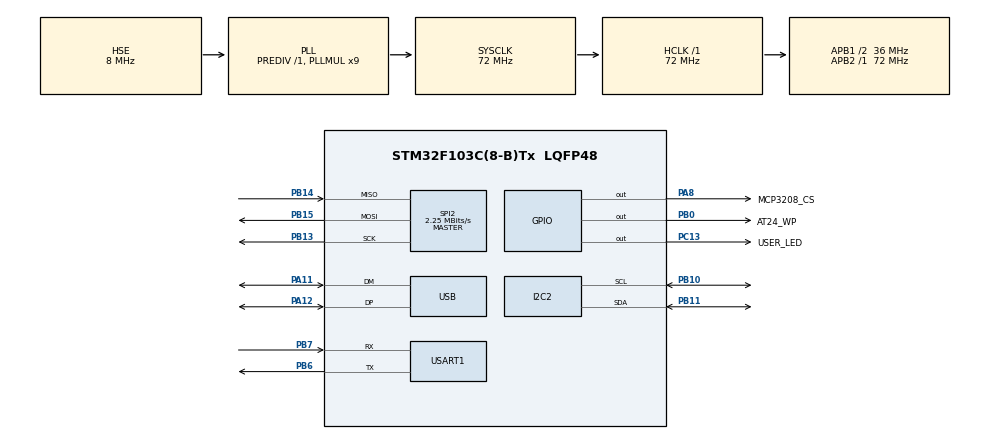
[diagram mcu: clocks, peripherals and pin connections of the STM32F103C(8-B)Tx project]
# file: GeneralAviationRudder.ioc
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FREERTOS.Tasks01=defaultTask,0,128,StartDefaultTask,Default,NULL,Dynamic,NULL,NULL;HidCommandTask,-1,128,HidCommand,Default,NULL,Static,HidCommandBuffer,HidCommandControlBlock;HidReportTask,2,64,HidReport,Default,NULL,Static,HidReportTaskBuffer,HidReportTaskControlBlock;MCP3208Reader,0,64,ReadFromMCP3208,Default,NULL,Static,ReadFromMCP3208Buffer,ReadFromMCP3208ControlBlock;ReadClibTask,-1,64,ReadClib,Default,NULL,Static,ReadClibTaskBuffer,ReadClibTaskControlBlock
FREERTOS.configMINIMAL_STACK_SIZE=64
Mcu.Family=STM32F1
Mcu.Name=STM32F103C(8-B)Tx
Mcu.Package=LQFP48
NVIC.PriorityGroup=NVIC_PRIORITYGROUP_4
NVIC.TIM1_UP_IRQn=true\:15\:0\:false\:false\:true\:false\:false\:true\:true
NVIC.TimeBase=TIM1_UP_IRQn
NVIC.TimeBaseIP=TIM1
NVIC.USB_LP_CAN1_RX0_IRQn=true\:5\:0\:false\:false\:true\:true\:false\:true\:true
PA11.Mode=Device
PA11.Signal=USB_DM
PA12.Mode=Device
PA12.Signal=USB_DP
PA13.Mode=Serial_Wire
PA13.Signal=SYS_JTMS-SWDIO
PA14.Mode=Serial_Wire
PA14.Signal=SYS_JTCK-SWCLK
PA8.GPIO_Label=MCP3208_CS
PA8.GPIO_Speed=GPIO_SPEED_FREQ_HIGH
PA8.PinState=GPIO_PIN_SET
PA8.Signal=GPIO_Output
PB0.GPIO_Label=AT24_WP
PB0.GPIO_Speed=GPIO_SPEED_FREQ_HIGH
PB0.PinState=GPIO_PIN_RESET
PB0.Signal=GPIO_Output
PB10.Mode=I2C
PB10.Signal=I2C2_SCL
PB11.Mode=I2C
PB11.Signal=I2C2_SDA
PB13.Mode=Full_Duplex_Master
PB13.Signal=SPI2_SCK
PB14.Mode=Full_Duplex_Master
PB14.Signal=SPI2_MISO
PB15.Mode=Full_Duplex_Master
PB15.Signal=SPI2_MOSI
PB6.Mode=Asynchronous
PB6.Signal=USART1_TX
PB7.Mode=Asynchronous
PB7.Signal=USART1_RX
PC13-TAMPER-RTC.GPIO_Label=USER_LED
PC13-TAMPER-RTC.GPIO_ModeDefaultOutputPP=GPIO_MODE_OUTPUT_OD
PC13-TAMPER-RTC.GPIO_PuPd=GPIO_NOPULL
PC13-TAMPER-RTC.GPIO_Speed=GPIO_SPEED_FREQ_HIGH
PC13-TAMPER-RTC.PinState=GPIO_PIN_SET
PC13-TAMPER-RTC.Signal=GPIO_Output
PC14-OSC32_IN.Mode=LSE-External-Oscillator
PC14-OSC32_IN.Signal=RCC_OSC32_IN
PC15-OSC32_OUT.Mode=LSE-External-Oscillator
PC15-OSC32_OUT.Signal=RCC_OSC32_OUT
PD0-OSC_IN.Mode=HSE-External-Oscillator
PD0-OSC_IN.Signal=RCC_OSC_IN
PD1-OSC_OUT.Mode=HSE-External-Oscillator
PD1-OSC_OUT.Signal=RCC_OSC_OUT
ProjectManager.HeapSize=0x200
ProjectManager.StackSize=0x400
ProjectManager.TargetToolchain=CMake
RCC.AHBFreq_Value=72000000
RCC.APB1CLKDivider=RCC_HCLK_DIV2
RCC.APB1Freq_Value=36000000
RCC.APB1TimFreq_Value=72000000
RCC.APB2Freq_Value=72000000
RCC.APB2TimFreq_Value=72000000
RCC.HCLKFreq_Value=72000000
RCC.PLLMUL=RCC_PLL_MUL9
RCC.SYSCLKFreq_VALUE=72000000
RCC.SYSCLKSource=RCC_SYSCLKSOURCE_PLLCLK
RCC.USBFreq_Value=48000000
RCC.USBPrescaler=RCC_USBCLKSOURCE_PLL_DIV1_5
SPI2.BaudRatePrescaler=SPI_BAUDRATEPRESCALER_16
SPI2.CLKPhase=SPI_PHASE_1EDGE
SPI2.CalculateBaudRate=2.25 MBits/s
SPI2.DataSize=SPI_DATASIZE_8BIT
SPI2.Direction=SPI_DIRECTION_2LINES
SPI2.Mode=SPI_MODE_MASTER
SPI2.VirtualType=VM_MASTER
USART1.VirtualMode=VM_ASYNC
USB.low_power_enable=DISABLE
USB.lpm_enable=DISABLE
USB_DEVICE.CLASS_NAME_FS=CUSTOM_HID
USB_DEVICE.MANUFACTURER_STRING=DexterCai's
USB_DEVICE.PID_CUSTOMHID_FS=0x6004
USB_DEVICE.PRODUCT_STRING_CUSTOMHID_FS=General Aviation Rudder
USB_DEVICE.USBD_DEBUG_LEVEL=0
USB_DEVICE.USBD_SELF_POWERED=0
USB_DEVICE.VirtualMode=CustomHid
USB_DEVICE.VirtualModeFS=Custom_Hid_FS
VP_FREERTOS_VS_CMSIS_V1.Mode=CMSIS_V1
VP_SYS_VS_tim1.Mode=TIM1
VP_USB_DEVICE_VS_USB_DEVICE_CUSTOM_HID_FS.Mode=CUSTOM_HID_FS
board=custom

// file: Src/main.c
/* USER CODE BEGIN Header */
/**
  ******************************************************************************
  * @file           : main.c
  * @brief          : Main program body
  ******************************************************************************
  * @attention
  *
  * Copyright (c) 2025 STMicroelectronics.
  * All rights reserved.
  *
  * This software is licensed under terms that can be found in the LICENSE file
  * in the root directory of this software component.
  * If no LICENSE file comes with this software, it is provided AS-IS.
  *
  ******************************************************************************
  */
/* USER CODE END Header */
#include "main.h"
#include "cmsis_os.h"
#include "usb_device.h"

/* USER CODE BEGIN Includes */
#include <sys/types.h>

#include "global.h"
#include "map.h"
#include "usbd_customhid.h"
#include "utils.h"
#include "at24cxx/at24cxx.h"
/* USER CODE END Includes */

I2C_HandleTypeDef hi2c2;

SPI_HandleTypeDef hspi2;

UART_HandleTypeDef huart1;

osThreadId defaultTaskHandle;
osThreadId HidCommandTaskHandle;
uint32_t HidCommandBuffer[ 128 ];
osStaticThreadDef_t HidCommandControlBlock;
osThreadId HidReportTaskHandle;
uint32_t HidReportTaskBuffer[ 128 ];
osStaticThreadDef_t HidReportTaskControlBlock;
osThreadId MCP3208ReaderHandle;
uint32_t ReadFromMCP3208Buffer[ 64 ];
osStaticThreadDef_t ReadFromMCP3208ControlBlock;
osThreadId ReadClibTaskHandle;
uint32_t ReadClibTaskBuffer[ 64 ];
osStaticThreadDef_t ReadClibTaskControlBlock;

void SystemClock_Config(void);
static void MX_GPIO_Init(void);
static void MX_SPI2_Init(void);
static void MX_USART1_UART_Init(void);
static void MX_I2C2_Init(void);
void StartDefaultTask(void const * argument);
void HidCommand(void const * argument);
void HidReport(void const * argument);
void ReadFromMCP3208(void const * argument);
void ReadClib(void const * argument);

int main(void)
{

  /* USER CODE BEGIN 1 */
  slipAvgFilter_Ch = malloc(sizeof(SlipAvgFilter_t) * 8);
  for (int i = 0; i < 8; i++)
  {
    slipAvgFilter_Ch[i] = SlipAvgFilterCreate(8);
  }
  /* USER CODE END 1 */

  /* MCU Configuration--------------------------------------------------------*/

  /* Reset of all peripherals, Initializes the Flash interface and the Systick. */
  HAL_Init();

  /* Configure the system clock */
  SystemClock_Config();

  /* Initialize all configured peripherals */
  MX_GPIO_Init();
  MX_SPI2_Init();
  MX_USART1_UART_Init();
  MX_I2C2_Init();

  /* USER CODE BEGIN RTOS_QUEUES */
  /* add queues, ... */
  hid_rx_queue = xQueueCreate(2, sizeof(HidOutEvent_t));
  /* USER CODE END RTOS_QUEUES */

  /* Create the thread(s) */
  /* definition and creation of defaultTask */
  osThreadDef(defaultTask, StartDefaultTask, osPriorityNormal, 0, 128);
  defaultTaskHandle = osThreadCreate(osThread(defaultTask), NULL);

  /* definition and creation of HidCommandTask */
  osThreadStaticDef(HidCommandTask, HidCommand, osPriorityBelowNormal, 0, 128, HidCommandBuffer, &HidCommandControlBlock);
  HidCommandTaskHandle = osThreadCreate(osThread(HidCommandTask), NULL);

  /* definition and creation of HidReportTask */
  osThreadStaticDef(HidReportTask, HidReport, osPriorityHigh, 0, 128, HidReportTaskBuffer, &HidReportTaskControlBlock);
  HidReportTaskHandle = osThreadCreate(osThread(HidReportTask), NULL);

  /* definition and creation of MCP3208Reader */
  osThreadStaticDef(MCP3208Reader, ReadFromMCP3208, osPriorityNormal, 0, 64, ReadFromMCP3208Buffer, &ReadFromMCP3208ControlBlock);
  MCP3208ReaderHandle = osThreadCreate(osThread(MCP3208Reader), NULL);

  /* definition and creation of ReadClibTask */
  osThreadStaticDef(ReadClibTask, ReadClib, osPriorityBelowNormal, 0, 64, ReadClibTaskBuffer, &ReadClibTaskControlBlock);
  ReadClibTaskHandle = osThreadCreate(osThread(ReadClibTask), NULL);

  /* Start scheduler */
  osKernelStart();

  /* We should never get here as control is now taken by the scheduler */

  /* Infinite loop */
  while (1)
  {

  }
}

void SystemClock_Config(void)
{
  RCC_OscInitTypeDef RCC_OscInitStruct = {0};
  RCC_ClkInitTypeDef RCC_ClkInitStruct = {0};
  RCC_PeriphCLKInitTypeDef PeriphClkInit = {0};

  /** Initializes the RCC Oscillators according to the specified parameters
  * in the RCC_OscInitTypeDef structure.
  */
  RCC_OscInitStruct.OscillatorType = RCC_OSCILLATORTYPE_HSE;
  RCC_OscInitStruct.HSEState = RCC_HSE_ON;
  RCC_OscInitStruct.HSEPredivValue = RCC_HSE_PREDIV_DIV1;
  RCC_OscInitStruct.HSIState = RCC_HSI_ON;
  RCC_OscInitStruct.PLL.PLLState = RCC_PLL_ON;
  RCC_OscInitStruct.PLL.PLLSource = RCC_PLLSOURCE_HSE;
  RCC_OscInitStruct.PLL.PLLMUL = RCC_PLL_MUL9;
  if (HAL_RCC_OscConfig(&RCC_OscInitStruct) != HAL_OK)
  {
    Error_Handler();
  }

  /** Initializes the CPU, AHB and APB buses clocks
  */
  RCC_ClkInitStruct.ClockType = RCC_CLOCKTYPE_HCLK|RCC_CLOCKTYPE_SYSCLK
                              |RCC_CLOCKTYPE_PCLK1|RCC_CLOCKTYPE_PCLK2;
  RCC_ClkInitStruct.SYSCLKSource = RCC_SYSCLKSOURCE_PLLCLK;
  RCC_ClkInitStruct.AHBCLKDivider = RCC_SYSCLK_DIV1;
  RCC_ClkInitStruct.APB1CLKDivider = RCC_HCLK_DIV2;
  RCC_ClkInitStruct.APB2CLKDivider = RCC_HCLK_DIV1;

  if (HAL_RCC_ClockConfig(&RCC_ClkInitStruct, FLASH_LATENCY_2) != HAL_OK)
  {
    Error_Handler();
  }
  PeriphClkInit.PeriphClockSelection = RCC_PERIPHCLK_USB;
  PeriphClkInit.UsbClockSelection = RCC_USBCLKSOURCE_PLL_DIV1_5;
  if (HAL_RCCEx_PeriphCLKConfig(&PeriphClkInit) != HAL_OK)
  {
    Error_Handler();
  }
}

static void MX_I2C2_Init(void)
{

  hi2c2.Instance = I2C2;
  hi2c2.Init.ClockSpeed = 100000;
  hi2c2.Init.DutyCycle = I2C_DUTYCYCLE_2;
  hi2c2.Init.OwnAddress1 = 0;
  hi2c2.Init.AddressingMode = I2C_ADDRESSINGMODE_7BIT;
  hi2c2.Init.DualAddressMode = I2C_DUALADDRESS_DISABLE;
  hi2c2.Init.OwnAddress2 = 0;
  hi2c2.Init.GeneralCallMode = I2C_GENERALCALL_DISABLE;
  hi2c2.Init.NoStretchMode = I2C_NOSTRETCH_DISABLE;
  if (HAL_I2C_Init(&hi2c2) != HAL_OK)
  {
    Error_Handler();
  }

}

static void MX_SPI2_Init(void)
{

  /* SPI2 parameter configuration*/
  hspi2.Instance = SPI2;
  hspi2.Init.Mode = SPI_MODE_MASTER;
  hspi2.Init.Direction = SPI_DIRECTION_2LINES;
  hspi2.Init.DataSize = SPI_DATASIZE_8BIT;
  hspi2.Init.CLKPolarity = SPI_POLARITY_LOW;
  hspi2.Init.CLKPhase = SPI_PHASE_1EDGE;
  hspi2.Init.NSS = SPI_NSS_SOFT;
  hspi2.Init.BaudRatePrescaler = SPI_BAUDRATEPRESCALER_16;
  hspi2.Init.FirstBit = SPI_FIRSTBIT_MSB;
  hspi2.Init.TIMode = SPI_TIMODE_DISABLE;
  hspi2.Init.CRCCalculation = SPI_CRCCALCULATION_DISABLE;
  hspi2.Init.CRCPolynomial = 10;
  if (HAL_SPI_Init(&hspi2) != HAL_OK)
  {
    Error_Handler();
  }
  /* USER CODE BEGIN SPI2_Init 2 */
  MCP3208_Init(&mcp3208, &hspi2, MCP3208_CS_GPIO_Port, MCP3208_CS_Pin);
  /* USER CODE END SPI2_Init 2 */

}

static void MX_USART1_UART_Init(void)
{

  huart1.Instance = USART1;
  huart1.Init.BaudRate = 115200;
  huart1.Init.WordLength = UART_WORDLENGTH_8B;
  huart1.Init.StopBits = UART_STOPBITS_1;
  huart1.Init.Parity = UART_PARITY_NONE;
  huart1.Init.Mode = UART_MODE_TX_RX;
  huart1.Init.HwFlowCtl = UART_HWCONTROL_NONE;
  huart1.Init.OverSampling = UART_OVERSAMPLING_16;
  if (HAL_UART_Init(&huart1) != HAL_OK)
  {
    Error_Handler();
  }

}

static void MX_GPIO_Init(void)
{
  GPIO_InitTypeDef GPIO_InitStruct = {0};

  /* GPIO Ports Clock Enable */
  __HAL_RCC_GPIOC_CLK_ENABLE();
  __HAL_RCC_GPIOD_CLK_ENABLE();
  __HAL_RCC_GPIOB_CLK_ENABLE();
  __HAL_RCC_GPIOA_CLK_ENABLE();

  /*Configure GPIO pin Output Level */
  HAL_GPIO_WritePin(USER_LED_GPIO_Port, USER_LED_Pin, GPIO_PIN_SET);

  /*Configure GPIO pin Output Level */
  HAL_GPIO_WritePin(AT24_WP_GPIO_Port, AT24_WP_Pin, GPIO_PIN_RESET);

  /*Configure GPIO pin Output Level */
  HAL_GPIO_WritePin(MCP3208_CS_GPIO_Port, MCP3208_CS_Pin, GPIO_PIN_SET);

  /*Configure GPIO pin : USER_LED_Pin */
  GPIO_InitStruct.Pin = USER_LED_Pin;
  GPIO_InitStruct.Mode = GPIO_MODE_OUTPUT_OD;
  GPIO_InitStruct.Pull = GPIO_NOPULL;
  GPIO_InitStruct.Speed = GPIO_SPEED_FREQ_HIGH;
  HAL_GPIO_Init(USER_LED_GPIO_Port, &GPIO_InitStruct);

  /*Configure GPIO pin : AT24_WP_Pin */
  GPIO_InitStruct.Pin = AT24_WP_Pin;
  GPIO_InitStruct.Mode = GPIO_MODE_OUTPUT_PP;
  GPIO_InitStruct.Pull = GPIO_NOPULL;
  GPIO_InitStruct.Speed = GPIO_SPEED_FREQ_HIGH;
  HAL_GPIO_Init(AT24_WP_GPIO_Port, &GPIO_InitStruct);

  /*Configure GPIO pin : MCP3208_CS_Pin */
  GPIO_InitStruct.Pin = MCP3208_CS_Pin;
  GPIO_InitStruct.Mode = GPIO_MODE_OUTPUT_PP;
  GPIO_InitStruct.Pull = GPIO_NOPULL;
  GPIO_InitStruct.Speed = GPIO_SPEED_FREQ_HIGH;
  HAL_GPIO_Init(MCP3208_CS_GPIO_Port, &GPIO_InitStruct);

}

void StartDefaultTask(void const * argument)
{
  /* init code for USB_DEVICE */
  MX_USB_DEVICE_Init();
  /* USER CODE BEGIN 5 */
  UNUSED(argument);
  /* Infinite loop */
  for(;;)
  {
    if (hUsbDeviceFS.dev_state != USBD_STATE_CONFIGURED)
    {
      HAL_GPIO_TogglePin(USER_LED_GPIO_Port, USER_LED_Pin);
      osDelay(pdMS_TO_TICKS(500));
    }else
    {
      HAL_GPIO_TogglePin(USER_LED_GPIO_Port, USER_LED_Pin);
      osDelay(pdMS_TO_TICKS(50));
    }
  }
  /* USER CODE END 5 */
}

void HidCommand(void const * argument)
{
  /* USER CODE BEGIN HidCommand */
  HidOutEvent_t out_event;
  uint8_t buf[2];
  /* Infinite loop */
  for(;;)
  {
     if (xQueueReceive(hid_rx_queue, &out_event, pdMS_TO_TICKS(100)) == pdTRUE)
        {
            switch (out_event.event_idx)
            {
            case 0x21: // 校准命令
                {
                    switch (out_event.state)
                    {
                    case 0x03:
                        Uint16ToUint8Array(slipAvgFilter_Ch[0].avg, buf, 1);
                        at24_write(RUDDER_INPUT_MIN_OFFSET_ADDR, buf, 2, 100);
                        break;
                    case 0x04:
                        Uint16ToUint8Array(slipAvgFilter_Ch[0].avg, buf, 1);
                        at24_write(RUDDER_INPUT_MAX_OFFSET_ADDR, buf, 2, 100);
                        break;
                    case 0x05:
                        Uint16ToUint8Array(slipAvgFilter_Ch[4].avg, buf, 1);
                        at24_write(PIC_LEFT_BREAK_INPUT_MIN_OFFSET_ADDR, buf, 2, 100);
                        break;
                    case 0x06:
                        Uint16ToUint8Array(slipAvgFilter_Ch[4].avg, buf, 1);
                        at24_write(PIC_LEFT_BREAK_INPUT_MAX_OFFSET_ADDR, buf, 2, 100);
                        break;
                    case 0x07:
                        Uint16ToUint8Array(slipAvgFilter_Ch[5].avg, buf, 1);
                        at24_write(PIC_RIGHT_BREAK_INPUT_MIN_OFFSET_ADDR, buf, 2, 100);
                        break;
                    case 0x08:
                        Uint16ToUint8Array(slipAvgFilter_Ch[5].avg, buf, 1);
                        at24_write(PIC_RIGHT_BREAK_INPUT_MAX_OFFSET_ADDR, buf, 2, 100);
                        break;
                    case 0x09:
                        Uint16ToUint8Array(slipAvgFilter_Ch[6].avg, buf, 1);
                        at24_write(PF_LEFT_BREAK_INPUT_MIN_OFFSET_ADDR, buf, 2, 100);
                        break;
                    case 0x10:
                        Uint16ToUint8Array(slipAvgFilter_Ch[6].avg, buf, 1);
                        at24_write(PF_LEFT_BREAK_INPUT_MAX_OFFSET_ADDR, buf, 2, 100);
                        break;
                    case 0x11:
                      Uint16ToUint8Array(slipAvgFilter_Ch[7].avg, buf, 1);
                      at24_write(PF_RIGHT_BREAK_INPUT_MIN_OFFSET_ADDR, buf, 2, 100);
                      break;
                    case 0x12:
                      Uint16ToUint8Array(slipAvgFilter_Ch[7].avg, buf, 1);
                      at24_write(PF_RIGHT_BREAK_INPUT_MAX_OFFSET_ADDR, buf, 2, 100);
                      break;
                    default:
                        break;
                    }
                }
            default:
                break;
            }
        }
        vTaskDelay(pdMS_TO_TICKS(100));
  }
  /* USER CODE END HidCommand */
}

void HidReport(void const * argument)
{
  /* USER CODE BEGIN HidReport */
  report14.report_id = 0x14;
  /* Infinite loop */
  for(;;)
  {
    const uint16_t rz = map(
            slipAvgFilter_Ch[0].avg,
            rudder_input_min_clib, rudder_input_max_clib,
            0, (1 << 10) - 1);
    report14.rz = rz;

    const uint16_t pic_left = map(
            slipAvgFilter_Ch[4].avg,
            pic_left_break_input_min_clib, pic_left_break_input_max_clib,
            0, (1 << 10) - 1);
    const uint16_t pf_left = map(
            slipAvgFilter_Ch[6].avg,
            pf_left_break_input_min_clib, pf_left_break_input_max_clib,
            0, (1 << 10) - 1);

    report14.dial = pic_left >= pf_left ? pic_left : pf_left;

    const uint16_t pic_right = map(
            slipAvgFilter_Ch[5].avg,
            pic_right_break_input_min_clib, pic_right_break_input_max_clib,
            0, (1 << 10) - 1);
    const uint16_t pf_right = map(
            slipAvgFilter_Ch[7].avg,
            pf_right_break_input_min_clib, pf_right_break_input_max_clib,
            0, (1 << 10) - 1);

    report14.slider = pic_right >= pf_right ? pic_right : pf_right;

    USBD_CUSTOM_HID_SendReport(&hUsbDeviceFS, (uint8_t*)&report14, sizeof(report14));

    vTaskDelay(pdMS_TO_TICKS(20));
  }
  /* USER CODE END HidReport */
}

void ReadFromMCP3208(void const * argument)
{
  /* USER CODE BEGIN ReadFromMCP3208 */
  /* Infinite loop */
  uint16_t s, fs;
  for(;;)
  {
      s = MCP3208_ReadChannel(&mcp3208, 0);
      fs = SlipAvgFilterGetAvgWithInput(&slipAvgFilter_Ch[0], s);
      UNUSED(fs);
      vTaskDelay(pdMS_TO_TICKS(4));
      s = MCP3208_ReadChannel(&mcp3208, 4);
      fs = SlipAvgFilterGetAvgWithInput(&slipAvgFilter_Ch[4], s);
      UNUSED(fs);
      vTaskDelay(pdMS_TO_TICKS(4));
      s = MCP3208_ReadChannel(&mcp3208, 5);
      fs = SlipAvgFilterGetAvgWithInput(&slipAvgFilter_Ch[5], s);
      UNUSED(fs);
      vTaskDelay(pdMS_TO_TICKS(4));
      s = MCP3208_ReadChannel(&mcp3208, 6);
      fs = SlipAvgFilterGetAvgWithInput(&slipAvgFilter_Ch[6], s);
      UNUSED(fs);
      vTaskDelay(pdMS_TO_TICKS(4));
      s = MCP3208_ReadChannel(&mcp3208, 7);
      fs = SlipAvgFilterGetAvgWithInput(&slipAvgFilter_Ch[7], s);
      UNUSED(fs);
      vTaskDelay(pdMS_TO_TICKS(4));
  }
  /* USER CODE END ReadFromMCP3208 */
}

/* USER CODE BEGIN Header_ReadClib */
/**
* @brief Function implementing the ReadClibTask thread.
* @param argument: Not used
* @retval None
*/
typedef struct
{
  uint16_t at24_address;
  uint16_t* addr;
} read_clib_job_type;
/* USER CODE END Header_ReadClib */
void ReadClib(void const * argument)
{
  /* USER CODE BEGIN ReadClib */
  /* Infinite loop */
  int at24_read_timeout = 64;
  uint8_t buf[2];
  while (1)
  {
    at24_read(RUDDER_INPUT_MIN_OFFSET_ADDR, buf, 2, at24_read_timeout);
    if (buf[0] != 0xFF || buf[1] != 0xFF) rudder_input_min_clib = Uint8ArrayToUint16(buf, 1);
    vTaskDelay(pdMS_TO_TICKS(200));
    at24_read(RUDDER_INPUT_MAX_OFFSET_ADDR, buf, 2, at24_read_timeout);
    if (buf[0] != 0xFF || buf[1] != 0xFF) rudder_input_max_clib = Uint8ArrayToUint16(buf, 1);
    vTaskDelay(pdMS_TO_TICKS(200));

    at24_read(PIC_LEFT_BREAK_INPUT_MIN_OFFSET_ADDR, buf, 2, at24_read_timeout);
    if (buf[0] != 0xFF || buf[1] != 0xFF) pic_left_break_input_min_clib = Uint8ArrayToUint16(buf, 1);
    vTaskDelay(pdMS_TO_TICKS(200));
    at24_read(PIC_LEFT_BREAK_INPUT_MAX_OFFSET_ADDR, buf, 2, at24_read_timeout);
    if (buf[0] != 0xFF || buf[1] != 0xFF) pic_left_break_input_max_clib = Uint8ArrayToUint16(buf, 1);
    vTaskDelay(pdMS_TO_TICKS(200));

    at24_read(PIC_RIGHT_BREAK_INPUT_MIN_OFFSET_ADDR, buf, 2, at24_read_timeout);
    if (buf[0] != 0xFF || buf[1] != 0xFF) pic_right_break_input_min_clib = Uint8ArrayToUint16(buf, 1);
    vTaskDelay(pdMS_TO_TICKS(200));
    at24_read(PIC_RIGHT_BREAK_INPUT_MAX_OFFSET_ADDR, buf, 2, at24_read_timeout);
    if (buf[0] != 0xFF || buf[1] != 0xFF) pic_right_break_input_max_clib = Uint8ArrayToUint16(buf, 1);
    vTaskDelay(pdMS_TO_TICKS(200));

    at24_read(PF_LEFT_BREAK_INPUT_MIN_OFFSET_ADDR, buf, 2, at24_read_timeout);
    if (buf[0] != 0xFF || buf[1] != 0xFF) pf_left_break_input_min_clib = Uint8ArrayToUint16(buf, 1);
    vTaskDelay(pdMS_TO_TICKS(200));
    at24_read(PF_LEFT_BREAK_INPUT_MAX_OFFSET_ADDR, buf, 2, at24_read_timeout);
    if (buf[0] != 0xFF || buf[1] != 0xFF) pf_left_break_input_max_clib = Uint8ArrayToUint16(buf, 1);
    vTaskDelay(pdMS_TO_TICKS(200));

    at24_read(PF_RIGHT_BREAK_INPUT_MIN_OFFSET_ADDR, buf, 2, at24_read_timeout);
    if (buf[0] != 0xFF || buf[1] != 0xFF) pf_right_break_input_min_clib = Uint8ArrayToUint16(buf, 1);
    vTaskDelay(pdMS_TO_TICKS(200));
    at24_read(PF_RIGHT_BREAK_INPUT_MAX_OFFSET_ADDR, buf, 2, at24_read_timeout);
    if (buf[0] != 0xFF || buf[1] != 0xFF) pf_right_break_input_max_clib = Uint8ArrayToUint16(buf, 1);
    vTaskDelay(pdMS_TO_TICKS(200));

  }
  /* USER CODE END ReadClib */
}

void HAL_TIM_PeriodElapsedCallback(TIM_HandleTypeDef *htim)
{
  if (htim->Instance == TIM1) {
    HAL_IncTick();
  }
}

void Error_Handler(void)
{
  __disable_irq();
  while (1)
  {
  }
}
